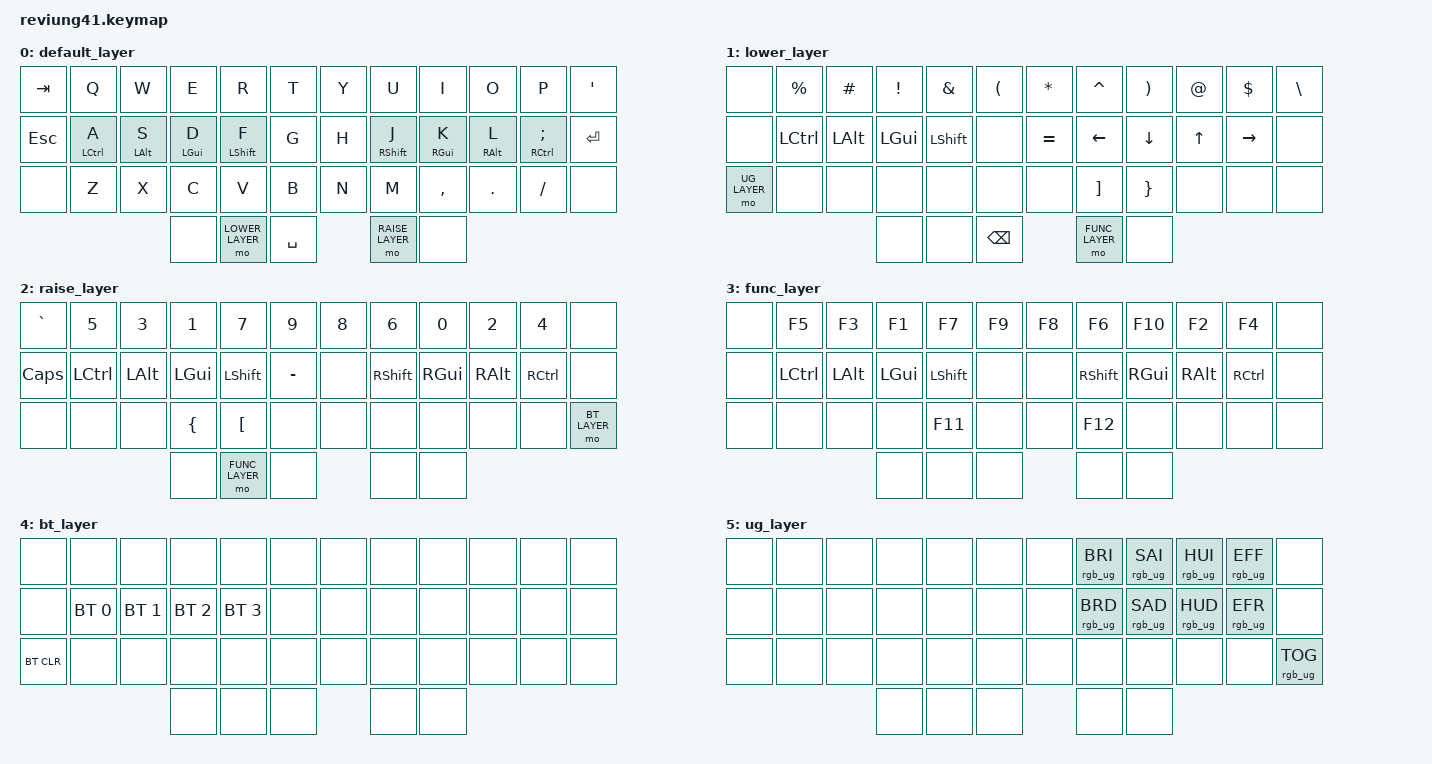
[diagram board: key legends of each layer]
/*
 * Copyright (c) 2020 The ZMK Contributors
 *
 * SPDX-License-Identifier: MIT
 */

#include <behaviors.dtsi>
#include <dt-bindings/zmk/keys.h>
#include <dt-bindings/zmk/bt.h>
#include <dt-bindings/zmk/rgb.h>


/*
 * Temporarily here because nice nano v2 spi is not defined on ZMk Yet
 * Source: https://github.com/zmkfirmware/zmk/blob/main/app/boards/shields/reviung41/boards/nice_nano.overlay
 * GitHub Issue: https://github.com/zmkfirmware/zmk/issues/885
 */
#include <dt-bindings/led/led.h>
&spi1 {
        compatible = "nordic,nrf-spim";
        status = "okay";
        mosi-pin = <6>;
        // Unused pins, needed for SPI definition, but not used by the ws2812 driver itself.
        sck-pin = <5>;
        miso-pin = <7>;

        led_strip: ws2812@0 {
            compatible = "worldsemi,ws2812-spi";
            label = "WS2812";

            /* SPI */
            reg = <0>; /* ignored, but necessary for SPI bindings */
            spi-max-frequency = <4000000>;

            /* WS2812 */
            chain-length = <11>; /* arbitrary; change at will */
            spi-one-frame = <0x70>;
            spi-zero-frame = <0x40>;
            color-mapping = <LED_COLOR_ID_GREEN LED_COLOR_ID_RED LED_COLOR_ID_BLUE>;
        };
};

/ {
        chosen {
            zmk,underglow = &led_strip;
        };
};

#define LOWER_LAYER 1
#define RAISE_LAYER 2
#define FUNC_LAYER 3
#define BT_LAYER 4
#define UG_LAYER 5

/ {
        behaviors {
            hm: homerow_mods {
                compatible = "zmk,behavior-hold-tap";
                label = "HOMEROW_MODS";
                #binding-cells = <2>;
                tapping-term-ms = <150>;
                quick-tap-ms = <0>;
                flavor = "tap-preferred";
                bindings = <&kp>, <&kp>;
            };
        };

        keymap {
                compatible = "zmk,keymap";

                default_layer {
//  ---------------------------------------------------------------------------------------------------
// | TAB  |      Q |     W |     E |      R |  T  |---|  Y  |      U |     I |     O |      P  | '"    |
// | ESC  | CTRL-A | ALT-S | GUI-D | SHFT-F |  G  |---|  H  | SHFT-J | GUI-K | ALT-L | CTRL-;: | ENTER |
// |      |      Z |     X |     C |      V |  B  |---|  N  |      M |    ,< |    .> |      /? |       |
//  --------------------------------|   | -LWR- | SPACE | -RSE- |   |----------------------------------
//                                  ---------------------------------
                    bindings = <
   &kp TAB  &kp Q       &kp W      &kp E      &kp R       &kp T    &kp Y &kp U       &kp I      &kp O      &kp P          &kp SQT
   &kp ESC  &hm LCTRL A &hm LALT S &hm LGUI D &hm LSHFT F &kp G    &kp H &hm RSHFT J &hm RGUI K &hm RALT L &hm RCTRL SEMI &kp RETURN
   &none    &kp Z       &kp X      &kp C      &kp V       &kp B    &kp N &kp M       &kp COMMA  &kp DOT    &kp SLASH      &none
                                    &none  &mo LOWER_LAYER  &kp SPACE  &mo RAISE_LAYER  &none
                        >;
                };

                lower_layer {
//  ---------------------------------------------------------------------------
// |      | %    | #   | !   | &    | ( |---| *  |  ^   |  )  |  @  |  $  | \| |
// |      | CTRL | ALT | GUI | SHFT |   |---| =+ |  ←-  |  ↓  |  ↑  |  -→ |    |
// | -UG- |      |     |     |      |   |---|    |  ]}  |  }  |     |     |    |
//  ----------------------|     |  <>  | BKSP | -FUNC- |     |-----------------
//                        ------------------------------------
                        bindings = <
   &none         &kp PRCNT  &kp HASH  &kp EXCL  &kp AMPS   &kp LPAR    &kp STAR  &kp CARET &kp RPAR  &kp AT  &kp DLLR   &kp BSLH
   &none         &kp LCTRL  &kp LALT  &kp LGUI  &kp LSHFT  &none       &kp EQUAL &kp LEFT  &kp DOWN  &kp UP  &kp RIGHT  &none
   &mo UG_LAYER  &none      &none     &none     &none      &none       &none     &kp RBKT  &kp RBRC  &none   &none      &none
                                              &none  &none  &kp BACKSPACE  &mo FUNC_LAYER  &none
                        >;
                };

                raise_layer {
//  ------------------------------------------------------------------------------
// | `~   | 5    | 3   | 1   | 7    | 9  |---| 8 | 6    | 0   | 2   | 4    |      |
// | CAPS | CTRL | ALT | GUI | SHFT | -_ |---|   | SHFT | GUI | ALT | CTRL |      |
// |      |      |     |  {  |  [{  |    |---|   |      |     |     |      | -BT- |
//  --------------------|     | -FUNC- | RETURN |  <>  |     |--------------------
//                      --------------------------------------
                        bindings = <
   &kp GRAVE &kp N5    &kp N3   &kp N1   &kp N7    &kp N9       &kp N8 &kp N6     &kp N0    &kp N2    &kp N4     &none
   &kp CAPS  &kp LCTRL &kp LALT &kp LGUI &kp LSHFT &kp MINUS    &none  &kp RSHFT  &kp RGUI  &kp RALT  &kp RCTRL  &none
   &none     &none     &none    &kp LBRC &kp LBKT  &none        &none  &none      &none     &none     &none      &mo BT_LAYER
                                     &none  &mo FUNC_LAYER  &none  &none  &none
                        >;
                };

                func_layer {
//  -------------------------------------------------------------------------
// |   | F5   | F3  | F1  | F7   | F9 |---| F8 | F6   | F10 | F2  | F4   |   |
// |   | CTRL | ALT | GUI | SHFT |    |---|    | SHFT | GUI | ALT | CTRL |   |
// |   |      |     |     | F11  |    |---|    | F12  |     |     |      |   |
//  ------------------------|   | <> |     | <> |   |------------------------
//                          -------------------------
                         bindings = <
   &none  &kp F5    &kp F3   &kp F1   &kp F7    &kp F9    &kp F8  &kp F6    &kp F10  &kp F2   &kp F4    &none
   &none  &kp LCTRL &kp LALT &kp LGUI &kp LSHFT &none     &none   &kp RSHFT &kp RGUI &kp RALT &kp RCTRL &none
   &none  &none     &none    &none    &kp F11   &none     &none   &kp F12   &none    &none    &none     &none
                                &none  &none  &none  &none  &none
			>;
                };

                bt_layer {
//  -----------------------------------------------------------------------
// |        |     |     |     |     |    |---|    |    |    |    |    |    |
// |        | BT1 | BT2 | BT3 | BT4 |    |---|    |    |    |    |    |    |
// | BT_CLR |     |     |     |     |    |---|    |    |    |    |    | <> |
//  -------------------------|     |    |     | <> |    |------------------
//                           ----------------------------
                         bindings = <
   &none      &none        &none        &none        &none            &none &none &none &none &none &none &none
   &none      &bt BT_SEL 0 &bt BT_SEL 1 &bt BT_SEL 2 &bt BT_SEL 3     &none &none &none &none &none &none &none
   &bt BT_CLR &none        &none        &none        &none            &none &none &none &none &none &none &none
                                                  &none  &none  &none  &none  &none
			>;
                };

                ug_layer {
//  ---------------------------------------------------------------------------------------------
// |    |    |    |    |    |    |---|    | RGB BRI+ | RGB SAT+ | RGB HUE+ | RGB ANI+ |          |
// |    |    |    |    |    |    |---|    | RGB BRI- | RGB SAT- | RGB HUE- | RGB ANI- |          |
// | <> |    |    |    |    |    |---|    |          |          |          |          | RGB TOG  |
//  ------------|    | <> |     |     |    |-----------------------------------------------------
//              ----------------------------
                         bindings = <
   &none &none &none &none &none &none    &none &rgb_ug RGB_BRI &rgb_ug RGB_SAI &rgb_ug RGB_HUI &rgb_ug RGB_EFF &none
   &none &none &none &none &none &none    &none &rgb_ug RGB_BRD &rgb_ug RGB_SAD &rgb_ug RGB_HUD &rgb_ug RGB_EFR &none
   &none &none &none &none &none &none    &none &none           &none           &none           &none           &rgb_ug RGB_TOG
                        &none  &none  &none  &none  &none
			>;
                };
        };
};
